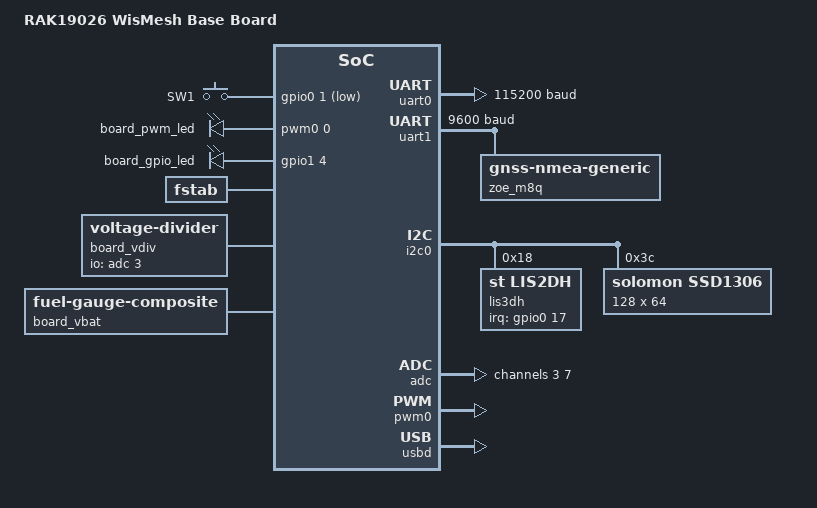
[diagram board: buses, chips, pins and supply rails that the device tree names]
/*
 * SPDX-License-Identifier: Apache-2.0
 * Copyright (c) 2026 RAKwireless Technology Limited
 */

/dts-v1/;
#include <rakwireless/rak4630.dtsi>
#include <zephyr/dt-bindings/battery/battery.h>
#include "rak19026-pinctrl.dtsi"

/ {
        model = "RAK19026 WisMesh Base Board";
	compatible = "rakwireless,rak19026";

	chosen {
		zephyr,console = &cdc_acm_uart0;
		zephyr,shell-uart = &cdc_acm_uart0;
		zephyr,uart-mcumgr = &cdc_acm_uart0;
		zephyr,bt-mon-uart = &cdc_acm_uart0;
		zephyr,bt-c2h-uart = &cdc_acm_uart0;
		zephyr,display = &ssd1306;
	};

	aliases {
		fuel-gauge0 = &board_vbat;
		pwm-led0 = &board_pwm_led;
		led0 = &board_gpio_led;
		sw0 = &board_sw1;
		accel0 = &lis3dh;
		gnss = &zoe_m8q;
	};

	board_keys {
		compatible = "gpio-keys";

		board_sw1: board_sw1 {
			gpios = <&gpio0 1 GPIO_ACTIVE_LOW>;
			label = "SW1";
			zephyr,code = <INPUT_KEY_0>;
		};
	};

	board_pwm_leds {
		compatible = "pwm-leds";

		board_pwm_led: board_pwm_led {
			pwms = <&pwm0 0 PWM_MSEC(5) PWM_POLARITY_NORMAL>;
		};
	};

	board_gpio_leds {
		compatible = "gpio-leds";

		board_gpio_led: board_gpio_led {
			gpios = <&gpio1 4 GPIO_ACTIVE_HIGH>;
		};
	};

	fstab {
		compatible = "zephyr,fstab";

		fstab_mtd: fstab-mtd {
			compatible = "zephyr,fstab,littlefs";
			mount-point = "/settings";
			partition = <&storage_partition>;
			read-size = <16>;
			prog-size = <16>;
			cache-size = <32>;
			lookahead-size = <32>;
			block-cycles = <512>;
			automount;
		};
	};

	board_vdiv: board-vdiv {
		compatible = "voltage-divider";
		io-channels = <&adc 3>;
		output-ohms = <1500000>;
		full-ohms = <2500000>;
	};
	
	board_vbat: board-vbat {
		compatible = "zephyr,fuel-gauge-composite";
		source-primary = <&board_vdiv>;
		device-chemistry = "lithium-ion-polymer";
		ocv-capacity-table-0 =
			<BATTERY_OCV_CURVE_LITHIUM_ION_POLYMER_DEFAULT>;
	};
};

&uart0 {
	pinctrl-0 = <&uart0_default>;
	pinctrl-1 = <&uart0_sleep>;
	pinctrl-names = "default", "sleep";
	current-speed = <115200>;
};

&uart1 {
	status = "okay";
	pinctrl-0 = <&uart1_default>;
	pinctrl-1 = <&uart1_sleep>;
	pinctrl-names = "default", "sleep";
	current-speed = <9600>;

	zoe_m8q: zoe_m8q {
		compatible = "gnss-nmea-generic";
		status = "okay";
	};
};

&i2c0 {
	status = "okay";
	compatible = "nordic,nrf-twi";
	pinctrl-0 = <&i2c0_default>;
	pinctrl-1 = <&i2c0_sleep>;
	pinctrl-names = "default", "sleep";

	lis3dh: lis3dh@18 {
		status = "okay";
		compatible = "st,lis2dh";
		reg = <0x18>;

		irq-gpios = <&gpio0 17 GPIO_ACTIVE_HIGH>;
	};

	ssd1306: ssd1306@3c {
		compatible = "solomon,ssd1306";
		reg = <0x3c>;

		width = <128>;
		height = <64>;

		segment-offset = <0>;
		page-offset = <0>;
		display-offset = <0>;
		multiplex-ratio = <63>;

		segment-remap;
		com-invdir;

		prechargep = <0x22>;
		ready-time-ms = <10>;

		status = "okay";
	};
};

&i2c1 {
	pinctrl-0 = <&i2c1_default>;
	pinctrl-1 = <&i2c1_sleep>;
	pinctrl-names = "default", "sleep";
};

&spi2 {
	pinctrl-0 = <&spi2_default>;
	pinctrl-1 = <&spi2_sleep>;
	pinctrl-names = "default", "sleep";

	cs-gpios = <&gpio0 26 GPIO_ACTIVE_LOW>;
};

&pdm0 {
	status = "disabled";
	pinctrl-0 = <&pdm0_default>;
	pinctrl-names = "default";
	clock-source = "PCLK32M_HFXO";
};

&adc {
	status = "okay";
	#address-cells = <1>;
	#size-cells = <0>;

	channel@3 {
		reg = <3>;
		zephyr,gain = "ADC_GAIN_1_6";
		zephyr,resolution = <12>;
		zephyr,reference = "ADC_REF_INTERNAL";
		zephyr,acquisition-time = <ADC_ACQ_TIME_MAX>;
		zephyr,input-positive = <NRF_SAADC_AIN3>;
	};

	channel@7 {
		reg = <7>;
		zephyr,gain = "ADC_GAIN_1_6";
		zephyr,resolution = <12>;
		zephyr,reference = "ADC_REF_INTERNAL";
		zephyr,acquisition-time = <ADC_ACQ_TIME_MAX>;
		zephyr,input-positive = <NRF_SAADC_AIN7>;
	};
};

&pwm0 {
	status = "okay";
	pinctrl-0 = <&pwm0_default>;
	pinctrl-1 = <&pwm0_sleep>;
	pinctrl-names = "default", "sleep";
};

&uicr {
	nfct-pins-as-gpios;
};

zephyr_udc0: &usbd {
	status = "okay";

	cdc_acm_uart0: cdc_acm_uart0 {
		status = "okay";
		compatible = "zephyr,cdc-acm-uart";
	};
};

#include "wisblock.dtsi"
